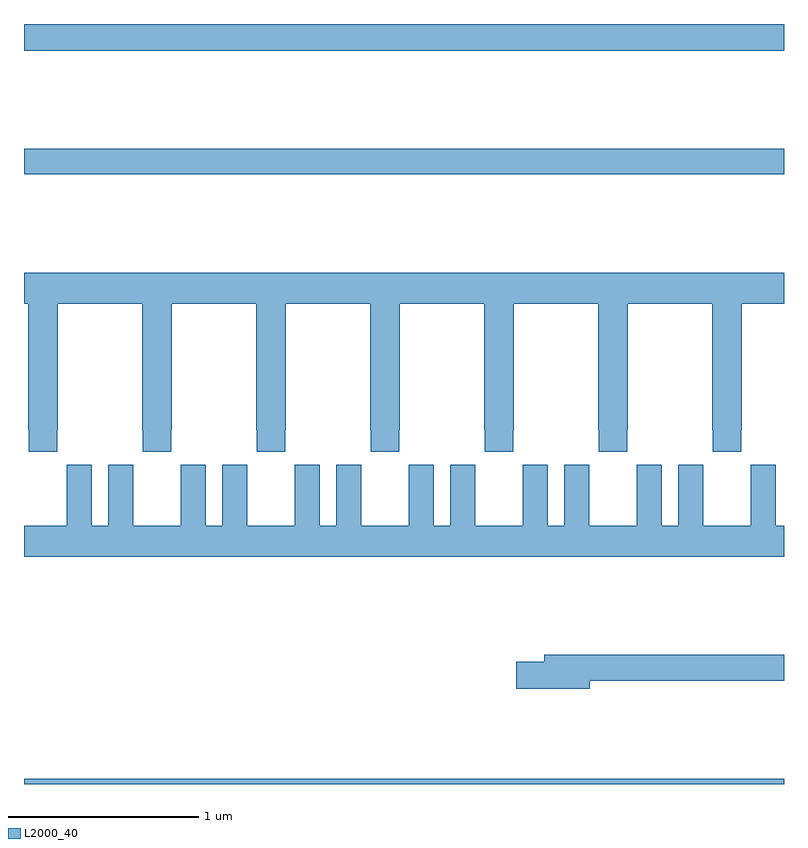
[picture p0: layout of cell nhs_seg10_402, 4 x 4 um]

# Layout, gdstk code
import gdstk
lib = gdstk.Library(unit=1e-6, precision=1e-09)
def R(c, l, rs):  # rectangles x0, y0, x1, y1
    for r in rs: c.add(gdstk.rectangle(r[:2], r[2:], *l))
def P(c, l, *ps):  # polygons
    for p in ps: c.add(gdstk.Polygon(p, *l))
L2000_40 = (2000, 40)

nhs_seg10_402 = lib.new_cell('nhs_seg10_402')
R(nhs_seg10_402, L2000_40, [(131,1252.5,135,1252.528), (131,1255.708,135,1255.844), (131,1256.36,135,1256.5)])
P(nhs_seg10_402, L2000_40, [(131.175,1254.361),(131.178,1254.361),(131.178,1255.028),(131.623,1255.028),(131.623,1254.361),(131.625,1254.361),(131.625,1254.249),(131.775,1254.249),(131.775,1254.361),(131.778,1254.361),(131.778,1255.028),(132.223,1255.028),(132.223,1254.361),(132.225,1254.361),(132.225,1254.249),(132.375,1254.249),(132.375,1254.361),(132.378,1254.361),(132.378,1255.028),(132.823,1255.028),(132.823,1254.361),(132.825,1254.361),(132.825,1254.249),(132.975,1254.249),(132.975,1254.361),(132.978,1254.361),(132.978,1255.028),(133.423,1255.028),(133.423,1254.361),(133.425,1254.361),(133.425,1254.249),(133.575,1254.249),(133.575,1254.361),(133.578,1254.361),(133.578,1255.028),(134.023,1255.028),(134.023,1254.361),(134.025,1254.361),(134.025,1254.249),(134.175,1254.249),(134.175,1254.361),(134.178,1254.361),(134.178,1255.028),(134.623,1255.028),(134.623,1254.361),(134.625,1254.361),(134.625,1254.249),(134.775,1254.249),(134.775,1254.361),(134.778,1254.361),(134.778,1255.028),(135,1255.028),(135,1255.192),(131,1255.192),(131,1255.028),(131.023,1255.028),(131.023,1254.361),(131.025,1254.361),(131.025,1254.249),(131.175,1254.249)],
  [(135,1253.86),(134.956,1253.86),(134.956,1254.181),(134.826,1254.181),(134.826,1254.068),(134.825,1254.068),(134.825,1253.86),(134.575,1253.86),(134.575,1254.068),(134.574,1254.068),(134.574,1254.181),(134.444,1254.181),(134.444,1253.86),(134.356,1253.86),(134.356,1254.181),(134.226,1254.181),(134.226,1254.068),(134.225,1254.068),(134.225,1253.86),(133.975,1253.86),(133.975,1254.068),(133.974,1254.068),(133.974,1254.181),(133.844,1254.181),(133.844,1253.86),(133.756,1253.86),(133.756,1254.181),(133.626,1254.181),(133.626,1254.068),(133.625,1254.068),(133.625,1253.86),(133.375,1253.86),(133.375,1254.068),(133.374,1254.068),(133.374,1254.181),(133.244,1254.181),(133.244,1253.86),(133.156,1253.86),(133.156,1254.181),(133.026,1254.181),(133.026,1254.068),(133.025,1254.068),(133.025,1253.86),(132.775,1253.86),(132.775,1254.068),(132.774,1254.068),(132.774,1254.181),(132.644,1254.181),(132.644,1253.86),(132.556,1253.86),(132.556,1254.181),(132.426,1254.181),(132.426,1254.068),(132.425,1254.068),(132.425,1253.86),(132.175,1253.86),(132.175,1254.068),(132.174,1254.068),(132.174,1254.181),(132.044,1254.181),(132.044,1253.86),(131.956,1253.86),(131.956,1254.181),(131.826,1254.181),(131.826,1254.068),(131.825,1254.068),(131.825,1253.86),(131.575,1253.86),(131.575,1254.068),(131.574,1254.068),(131.574,1254.181),(131.444,1254.181),(131.444,1253.86),(131.356,1253.86),(131.356,1254.181),(131.226,1254.181),(131.226,1254.068),(131.225,1254.068),(131.225,1253.86),(131,1253.86),(131,1253.696),(135,1253.696)],
  [(133.978,1253.044),(135,1253.044),(135,1253.18),(133.739,1253.18),(133.739,1253.144),(133.59,1253.144),(133.59,1253.002),(133.978,1253.002)])

lib.write_gds('nhs_seg10_402.gds')
